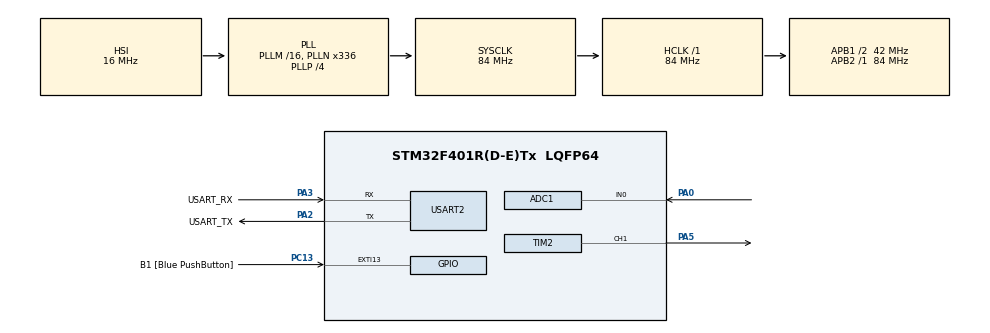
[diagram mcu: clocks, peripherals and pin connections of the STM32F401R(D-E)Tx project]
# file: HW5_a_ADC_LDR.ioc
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ADC1.Channel-0\#ChannelRegularConversion=ADC_CHANNEL_0
ADC1.DMAContinuousRequests=ENABLE
ADC1.ExternalTrigConv=ADC_EXTERNALTRIGCONV_T3_TRGO
ADC1.NbrOfConversionFlag=1
ADC1.Rank-0\#ChannelRegularConversion=1
ADC1.SamplingTime-0\#ChannelRegularConversion=ADC_SAMPLETIME_480CYCLES
ADC1.master=1
Dma.ADC1.0.Direction=DMA_PERIPH_TO_MEMORY
Dma.ADC1.0.FIFOMode=DMA_FIFOMODE_DISABLE
Dma.ADC1.0.Instance=DMA2_Stream0
Dma.ADC1.0.MemDataAlignment=DMA_MDATAALIGN_HALFWORD
Dma.ADC1.0.MemInc=DMA_MINC_ENABLE
Dma.ADC1.0.Mode=DMA_CIRCULAR
Dma.ADC1.0.PeriphDataAlignment=DMA_PDATAALIGN_HALFWORD
Dma.ADC1.0.PeriphInc=DMA_PINC_DISABLE
Dma.ADC1.0.Priority=DMA_PRIORITY_LOW
Dma.Request0=ADC1
Mcu.Family=STM32F4
Mcu.Name=STM32F401R(D-E)Tx
Mcu.Package=LQFP64
NVIC.ADC_IRQn=true\:0\:0\:false\:false\:true\:true\:true\:true
NVIC.DMA2_Stream0_IRQn=true\:0\:0\:false\:false\:true\:false\:true\:true
NVIC.PriorityGroup=NVIC_PRIORITYGROUP_0
NVIC.TIM2_IRQn=true\:0\:0\:false\:false\:true\:true\:true\:true
NVIC.TIM3_IRQn=true\:0\:0\:false\:false\:true\:true\:true\:true
PA0-WKUP.Signal=SharedAnalog_PA0
PA13.GPIO_Label=TMS
PA13.Mode=Serial_Wire
PA13.Signal=SYS_JTMS-SWDIO
PA14.GPIO_Label=TCK
PA14.Mode=Serial_Wire
PA14.Signal=SYS_JTCK-SWCLK
PA2.GPIO_Label=USART_TX
PA2.GPIO_Mode=GPIO_MODE_AF_PP
PA2.GPIO_PuPd=GPIO_NOPULL
PA2.GPIO_Speed=GPIO_SPEED_FREQ_LOW
PA2.Mode=Asynchronous
PA2.Signal=USART2_TX
PA3.GPIO_Label=USART_RX
PA3.GPIO_Mode=GPIO_MODE_AF_PP
PA3.GPIO_PuPd=GPIO_NOPULL
PA3.GPIO_Speed=GPIO_SPEED_FREQ_LOW
PA3.Mode=Asynchronous
PA3.Signal=USART2_RX
PA5.Signal=S_TIM2_CH1_ETR
PB3.GPIO_Label=SWO
PB3.Signal=SYS_JTDO-SWO
PC13-ANTI_TAMP.GPIO_Label=B1 [Blue PushButton]
PC13-ANTI_TAMP.GPIO_ModeDefaultEXTI=GPIO_MODE_IT_FALLING
PC13-ANTI_TAMP.GPIO_PuPd=GPIO_NOPULL
PC13-ANTI_TAMP.Signal=GPXTI13
PC14-OSC32_IN.Mode=LSE-External-Oscillator
PC14-OSC32_IN.Signal=RCC_OSC32_IN
PC15-OSC32_OUT.Mode=LSE-External-Oscillator
PC15-OSC32_OUT.Signal=RCC_OSC32_OUT
PH0\ -\ OSC_IN.Mode=HSE-External-Clock-Source
PH0\ -\ OSC_IN.Signal=RCC_OSC_IN
PH1\ -\ OSC_OUT.Mode=HSE-External-Clock-Source
PH1\ -\ OSC_OUT.Signal=RCC_OSC_OUT
ProjectManager.HeapSize=0x200
ProjectManager.StackSize=0x400
ProjectManager.TargetToolchain=STM32CubeIDE
RCC.48MHZClocksFreq_Value=48000000
RCC.AHBFreq_Value=84000000
RCC.APB1CLKDivider=RCC_HCLK_DIV2
RCC.APB1Freq_Value=42000000
RCC.APB1TimFreq_Value=84000000
RCC.APB2Freq_Value=84000000
RCC.APB2TimFreq_Value=84000000
RCC.CortexFreq_Value=84000000
RCC.HCLKFreq_Value=84000000
RCC.HSE_VALUE=8000000
RCC.HSI_VALUE=16000000
RCC.PLLN=336
RCC.PLLP=RCC_PLLP_DIV4
RCC.PLLQ=7
RCC.SYSCLKFreq_VALUE=84000000
RCC.SYSCLKSource=RCC_SYSCLKSOURCE_PLLCLK
RCC.VCOOutputFreq_Value=336000000
SH.S_TIM2_CH1_ETR.0=TIM2_CH1,PWM Generation1 CH1
SH.SharedAnalog_PA0.0=GPIO_Analog
SH.SharedAnalog_PA0.1=ADC1_IN0,IN0
TIM2.Channel-PWM\ Generation1\ CH1=TIM_CHANNEL_1
TIM2.OCMode_PWM-PWM\ Generation1\ CH1=TIM_OCMODE_PWM2
TIM2.Period=8400-1
TIM2.Prescaler=100
TIM2.TIM_MasterOutputTrigger=TIM_TRGO_UPDATE
TIM3.Period=8400-1
TIM3.TIM_MasterOutputTrigger=TIM_TRGO_UPDATE
USART2.VirtualMode=VM_ASYNC
VP_TIM2_VS_ClockSourceINT.Mode=Internal
VP_TIM3_VS_ClockSourceINT.Mode=Internal
board=NUCLEO-F401RE

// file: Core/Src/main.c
/* USER CODE BEGIN Header */
/**
  ******************************************************************************
  * @file           : main.c
  * @brief          : Main program body
  ******************************************************************************
  * @attention
  *
  * Copyright (c) 2022 STMicroelectronics.
  * All rights reserved.
  *
  * This software is licensed under terms that can be found in the LICENSE file
  * in the root directory of this software component.
  * If no LICENSE file comes with this software, it is provided AS-IS.
  *
  ******************************************************************************
  */
/* USER CODE END Header */
#include "main.h"

/* USER CODE BEGIN Includes */
#include "math.h"

/* USER CODE END Includes */

ADC_HandleTypeDef hadc1;
DMA_HandleTypeDef hdma_adc1;

TIM_HandleTypeDef htim2;
TIM_HandleTypeDef htim3;

UART_HandleTypeDef huart2;

void SystemClock_Config(void);
static void MX_GPIO_Init(void);
static void MX_DMA_Init(void);
static void MX_USART2_UART_Init(void);
static void MX_ADC1_Init(void);
static void MX_TIM2_Init(void);
static void MX_TIM3_Init(void);

/* USER CODE BEGIN 0 */

 uint16_t adc_value[100*2];

 float ldr;
 float lux;

 int PWM_Pulse;

void HAL_ADC_ConvCpltCallback(ADC_HandleTypeDef* hadc){
	//calculate the sum of the last 1000 values (positions 1000-1999)
		int sum = 0;
		for(int i = 100; i<200; i++){
			sum += adc_value[i];
		}

		//calculate the mean and convert it into Volt
		float voltage = (sum/100.0) * 3.3 / 4096.0;

		//calculate LDR and LUX
		ldr = (voltage*100)/(3.3-voltage); //LDR result in kOhm
		lux = 10*pow((100/ldr),(1.25));

		PWM_Pulse = voltage/3.3 * 8400;	//max voltage => 100% DC

		HAL_TIM_PWM_Stop(&htim2, TIM_CHANNEL_1);
		__HAL_TIM_SET_COMPARE(&htim2, TIM_CHANNEL_1, PWM_Pulse );	//set CCR
		HAL_TIM_PWM_Start(&htim2, TIM_CHANNEL_1);

		//transmit via UART
		/*char string[64];
		int length = snprintf(string, sizeof(string),"LDR: %.3f kOhm ; Brightness: %.3f lux\r\n", ldr, lux);
		HAL_UART_Transmit(&huart2, string, length, 100);
		*/

	}

void HAL_ADC_ConvHalfCpltCallback(ADC_HandleTypeDef* hadc){

	//calculate the sum of the first 100 values
	int sum = 0;
	for(int i = 0; i<100; i++){
		sum += adc_value[i];
	}

	//calculate the mean and convert it into Volt
	float voltage = (sum/1000.0) * 3.3 / 4096.0;

	//calculate LDR and LUX
	ldr = (voltage*100)/(3.3-voltage); //LDR result in kOhm
	lux = 10*pow((100/ldr),(1.25));

	PWM_Pulse = voltage/3.3 * 8400;	//max voltage => 100% DC

	HAL_TIM_PWM_Stop(&htim2, TIM_CHANNEL_1);
	__HAL_TIM_SET_COMPARE(&htim2, TIM_CHANNEL_1, PWM_Pulse );	//set CCR
	HAL_TIM_PWM_Start(&htim2, TIM_CHANNEL_1);

	//transmit via UART
	//char string[64];
	//int length = snprintf(string, sizeof(string),"LDR: %.3f kOhm ; Brightness: %.3f lux\r\n", ldr, lux);
	//HAL_UART_Transmit(&huart2, string, length, 100);

}

/* USER CODE END 0 */

int main(void)
{

  /* MCU Configuration--------------------------------------------------------*/

  /* Reset of all peripherals, Initializes the Flash interface and the Systick. */
  HAL_Init();

  /* Configure the system clock */
  SystemClock_Config();

  /* Initialize all configured peripherals */
  MX_GPIO_Init();
  MX_DMA_Init();
  MX_USART2_UART_Init();
  MX_ADC1_Init();
  MX_TIM2_Init();
  MX_TIM3_Init();
  /* USER CODE BEGIN 2 */

  //TIM2 will start a conversion in the ADC every 1ms
  //every 1000 conversions, the adc callback (half or complete) will calculate the average and
  //send via UART the resistance and luminosity values

  //TIM3 connected to ADC triggers every 100ms
  //TIM2CH1 generate a PWM with 100 ms period

  HAL_TIM_Base_Start(&htim3);
  HAL_ADC_Start_DMA(&hadc1, adc_value, 100*2);

  HAL_TIM_PWM_Start(&htim2, TIM_CHANNEL_1);

  /* USER CODE END 2 */

  /* Infinite loop */
  while (1)
  {

  }
}

void SystemClock_Config(void)
{
  RCC_OscInitTypeDef RCC_OscInitStruct = {0};
  RCC_ClkInitTypeDef RCC_ClkInitStruct = {0};

  /** Configure the main internal regulator output voltage
  */
  __HAL_RCC_PWR_CLK_ENABLE();
  __HAL_PWR_VOLTAGESCALING_CONFIG(PWR_REGULATOR_VOLTAGE_SCALE2);

  /** Initializes the RCC Oscillators according to the specified parameters
  * in the RCC_OscInitTypeDef structure.
  */
  RCC_OscInitStruct.OscillatorType = RCC_OSCILLATORTYPE_HSI;
  RCC_OscInitStruct.HSIState = RCC_HSI_ON;
  RCC_OscInitStruct.HSICalibrationValue = RCC_HSICALIBRATION_DEFAULT;
  RCC_OscInitStruct.PLL.PLLState = RCC_PLL_ON;
  RCC_OscInitStruct.PLL.PLLSource = RCC_PLLSOURCE_HSI;
  RCC_OscInitStruct.PLL.PLLM = 16;
  RCC_OscInitStruct.PLL.PLLN = 336;
  RCC_OscInitStruct.PLL.PLLP = RCC_PLLP_DIV4;
  RCC_OscInitStruct.PLL.PLLQ = 7;
  if (HAL_RCC_OscConfig(&RCC_OscInitStruct) != HAL_OK)
  {
    Error_Handler();
  }

  /** Initializes the CPU, AHB and APB buses clocks
  */
  RCC_ClkInitStruct.ClockType = RCC_CLOCKTYPE_HCLK|RCC_CLOCKTYPE_SYSCLK
                              |RCC_CLOCKTYPE_PCLK1|RCC_CLOCKTYPE_PCLK2;
  RCC_ClkInitStruct.SYSCLKSource = RCC_SYSCLKSOURCE_PLLCLK;
  RCC_ClkInitStruct.AHBCLKDivider = RCC_SYSCLK_DIV1;
  RCC_ClkInitStruct.APB1CLKDivider = RCC_HCLK_DIV2;
  RCC_ClkInitStruct.APB2CLKDivider = RCC_HCLK_DIV1;

  if (HAL_RCC_ClockConfig(&RCC_ClkInitStruct, FLASH_LATENCY_2) != HAL_OK)
  {
    Error_Handler();
  }
}

static void MX_ADC1_Init(void)
{

  ADC_ChannelConfTypeDef sConfig = {0};

  /** Configure the global features of the ADC (Clock, Resolution, Data Alignment and number of conversion)
  */
  hadc1.Instance = ADC1;
  hadc1.Init.ClockPrescaler = ADC_CLOCK_SYNC_PCLK_DIV4;
  hadc1.Init.Resolution = ADC_RESOLUTION_12B;
  hadc1.Init.ScanConvMode = DISABLE;
  hadc1.Init.ContinuousConvMode = DISABLE;
  hadc1.Init.DiscontinuousConvMode = DISABLE;
  hadc1.Init.ExternalTrigConvEdge = ADC_EXTERNALTRIGCONVEDGE_RISING;
  hadc1.Init.ExternalTrigConv = ADC_EXTERNALTRIGCONV_T3_TRGO;
  hadc1.Init.DataAlign = ADC_DATAALIGN_RIGHT;
  hadc1.Init.NbrOfConversion = 1;
  hadc1.Init.DMAContinuousRequests = ENABLE;
  hadc1.Init.EOCSelection = ADC_EOC_SINGLE_CONV;
  if (HAL_ADC_Init(&hadc1) != HAL_OK)
  {
    Error_Handler();
  }

  /** Configure for the selected ADC regular channel its corresponding rank in the sequencer and its sample time.
  */
  sConfig.Channel = ADC_CHANNEL_0;
  sConfig.Rank = 1;
  sConfig.SamplingTime = ADC_SAMPLETIME_480CYCLES;
  if (HAL_ADC_ConfigChannel(&hadc1, &sConfig) != HAL_OK)
  {
    Error_Handler();
  }

}

static void MX_TIM2_Init(void)
{

  TIM_ClockConfigTypeDef sClockSourceConfig = {0};
  TIM_MasterConfigTypeDef sMasterConfig = {0};
  TIM_OC_InitTypeDef sConfigOC = {0};

  htim2.Instance = TIM2;
  htim2.Init.Prescaler = 100;
  htim2.Init.CounterMode = TIM_COUNTERMODE_UP;
  htim2.Init.Period = 8400-1;
  htim2.Init.ClockDivision = TIM_CLOCKDIVISION_DIV1;
  htim2.Init.AutoReloadPreload = TIM_AUTORELOAD_PRELOAD_DISABLE;
  if (HAL_TIM_Base_Init(&htim2) != HAL_OK)
  {
    Error_Handler();
  }
  sClockSourceConfig.ClockSource = TIM_CLOCKSOURCE_INTERNAL;
  if (HAL_TIM_ConfigClockSource(&htim2, &sClockSourceConfig) != HAL_OK)
  {
    Error_Handler();
  }
  if (HAL_TIM_PWM_Init(&htim2) != HAL_OK)
  {
    Error_Handler();
  }
  sMasterConfig.MasterOutputTrigger = TIM_TRGO_UPDATE;
  sMasterConfig.MasterSlaveMode = TIM_MASTERSLAVEMODE_DISABLE;
  if (HAL_TIMEx_MasterConfigSynchronization(&htim2, &sMasterConfig) != HAL_OK)
  {
    Error_Handler();
  }
  sConfigOC.OCMode = TIM_OCMODE_PWM2;
  sConfigOC.Pulse = 0;
  sConfigOC.OCPolarity = TIM_OCPOLARITY_HIGH;
  sConfigOC.OCFastMode = TIM_OCFAST_DISABLE;
  if (HAL_TIM_PWM_ConfigChannel(&htim2, &sConfigOC, TIM_CHANNEL_1) != HAL_OK)
  {
    Error_Handler();
  }
  HAL_TIM_MspPostInit(&htim2);

}

static void MX_TIM3_Init(void)
{

  TIM_ClockConfigTypeDef sClockSourceConfig = {0};
  TIM_MasterConfigTypeDef sMasterConfig = {0};

  htim3.Instance = TIM3;
  htim3.Init.Prescaler = 0;
  htim3.Init.CounterMode = TIM_COUNTERMODE_UP;
  htim3.Init.Period = 8400-1;
  htim3.Init.ClockDivision = TIM_CLOCKDIVISION_DIV1;
  htim3.Init.AutoReloadPreload = TIM_AUTORELOAD_PRELOAD_DISABLE;
  if (HAL_TIM_Base_Init(&htim3) != HAL_OK)
  {
    Error_Handler();
  }
  sClockSourceConfig.ClockSource = TIM_CLOCKSOURCE_INTERNAL;
  if (HAL_TIM_ConfigClockSource(&htim3, &sClockSourceConfig) != HAL_OK)
  {
    Error_Handler();
  }
  sMasterConfig.MasterOutputTrigger = TIM_TRGO_UPDATE;
  sMasterConfig.MasterSlaveMode = TIM_MASTERSLAVEMODE_DISABLE;
  if (HAL_TIMEx_MasterConfigSynchronization(&htim3, &sMasterConfig) != HAL_OK)
  {
    Error_Handler();
  }

}

static void MX_USART2_UART_Init(void)
{

  huart2.Instance = USART2;
  huart2.Init.BaudRate = 115200;
  huart2.Init.WordLength = UART_WORDLENGTH_8B;
  huart2.Init.StopBits = UART_STOPBITS_1;
  huart2.Init.Parity = UART_PARITY_NONE;
  huart2.Init.Mode = UART_MODE_TX_RX;
  huart2.Init.HwFlowCtl = UART_HWCONTROL_NONE;
  huart2.Init.OverSampling = UART_OVERSAMPLING_16;
  if (HAL_UART_Init(&huart2) != HAL_OK)
  {
    Error_Handler();
  }

}

static void MX_DMA_Init(void)
{

  /* DMA controller clock enable */
  __HAL_RCC_DMA2_CLK_ENABLE();

  /* DMA interrupt init */
  /* DMA2_Stream0_IRQn interrupt configuration */
  HAL_NVIC_SetPriority(DMA2_Stream0_IRQn, 0, 0);
  HAL_NVIC_EnableIRQ(DMA2_Stream0_IRQn);

}

static void MX_GPIO_Init(void)
{
  GPIO_InitTypeDef GPIO_InitStruct = {0};

  /* GPIO Ports Clock Enable */
  __HAL_RCC_GPIOC_CLK_ENABLE();
  __HAL_RCC_GPIOH_CLK_ENABLE();
  __HAL_RCC_GPIOA_CLK_ENABLE();
  __HAL_RCC_GPIOB_CLK_ENABLE();

  /*Configure GPIO pin : B1_Pin */
  GPIO_InitStruct.Pin = B1_Pin;
  GPIO_InitStruct.Mode = GPIO_MODE_IT_FALLING;
  GPIO_InitStruct.Pull = GPIO_NOPULL;
  HAL_GPIO_Init(B1_GPIO_Port, &GPIO_InitStruct);

}

void Error_Handler(void)
{
  __disable_irq();
  while (1)
  {
  }
}
